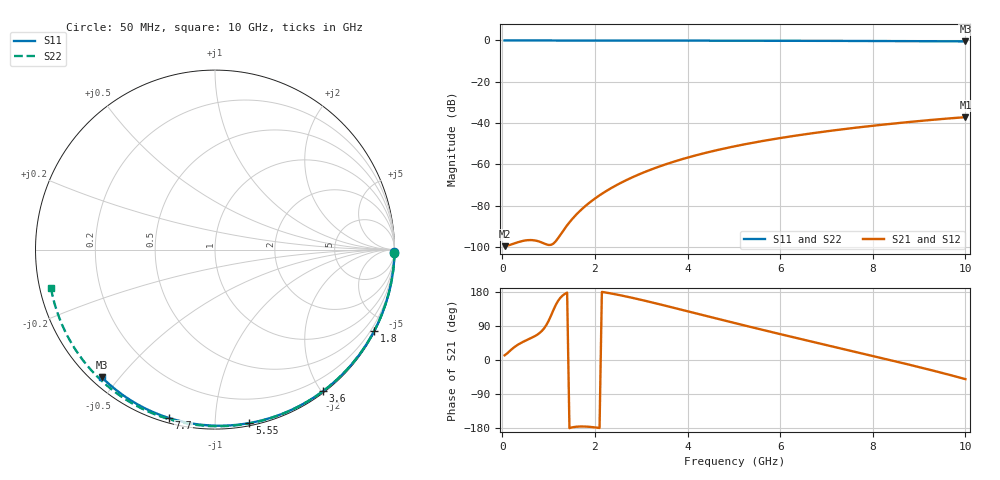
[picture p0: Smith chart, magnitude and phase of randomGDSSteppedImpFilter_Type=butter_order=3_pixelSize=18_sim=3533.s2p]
! freq	dB(S11)	phase(S11)	dB(S12)	phase(S12)
!  dB(S21)	phase(S21)	dB(S22)	phase(S22)
!S-par simulation data
#  GHz  S  DB  R 50
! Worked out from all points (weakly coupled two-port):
!   200 points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, 50 MHz to 10 GHz, reference 50 ohm
!   highest |S21| = -37.19 dB at 10 GHz (marker M1); lowest = -99.7 dB at 50 MHz (marker M2)
!   lowest |S11| = -0.4 dB at 10 GHz (marker M3), VSWR 39.27, Z = 1.53 - j22.4 ohm
!   |S11| at or under -10 dB: nowhere
!   |S22| runs from -0.5 to 0.0 dB; largest |S21 - S12| = 0
!   S11 on the Smith chart (normalised r, x): 50 MHz: open; 1.8 GHz: 0.04, -4.17; 3.6 GHz: 0.02, -2.02; 5.55 GHz: 0.02, -1.22; 7.7 GHz: 0.02, -0.76; 10 GHz: 0.03, -0.45
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0.05  -0.00 -0.8  -99.69 12.3  -99.69 12.3  -0.00 -1.0
0.45  -0.01 -6.8  -97.11 48.0  -97.11 48.0  -0.01 -8.7
0.85  -0.01 -12.9  -97.88 76.2  -97.88 76.2  -0.02 -16.3
1.3  -0.02 -19.6  -92.68 169.9  -92.68 169.9  -0.03 -24.9
1.75  -0.03 -26.2  -81.10 -175.5  -81.10 -175.5  -0.04 -33.3
1.8  -0.03 -27.0  -80.13 -175.7  -80.13 -175.7  -0.04 -34.2
2  -0.04 -29.9  -76.62 -177.8  -76.62 -177.8  -0.05 -37.9
2.15  -0.04 -32.1  -74.31 179.7  -74.31 179.7  -0.05 -40.7
2.5  -0.05 -37.2  -69.71 172.0  -69.71 172.0  -0.06 -47.0
2.9  -0.06 -42.9  -65.40 161.5  -65.40 161.5  -0.07 -54.2
3.4  -0.07 -50.0  -61.01 147.0  -61.01 147.0  -0.08 -63.0
3.6  -0.07 -52.8  -59.49 140.9  -59.49 140.9  -0.09 -66.5
3.95  -0.08 -57.6  -57.09 130.2  -57.09 130.2  -0.10 -72.5
4.3  -0.09 -62.3  -54.97 119.5  -54.97 119.5  -0.11 -78.4
5.05  -0.11 -72.3  -51.15 96.6  -51.15 96.6  -0.14 -90.7
5.55  -0.13 -78.8  -49.01 81.6  -49.01 81.6  -0.16 -98.7
6.1  -0.15 -85.8  -46.94 65.4  -46.94 65.4  -0.19 -107.3
6.7  -0.18 -93.2  -44.95 48.0  -44.95 48.0  -0.23 -116.6
7.7  -0.24 -105.2  -42.10 19.2  -42.10 19.2  -0.31 -131.7
8.35  -0.29 -112.8  -40.50 0.5  -40.50 0.5  -0.37 -141.5
9.2  -0.36 -122.6  -38.64 -24.8  -38.64 -24.8  -0.46 -154.4
10  -0.44 -131.7  -37.19 -50.5  -37.19 -50.5  -0.55 -166.8
